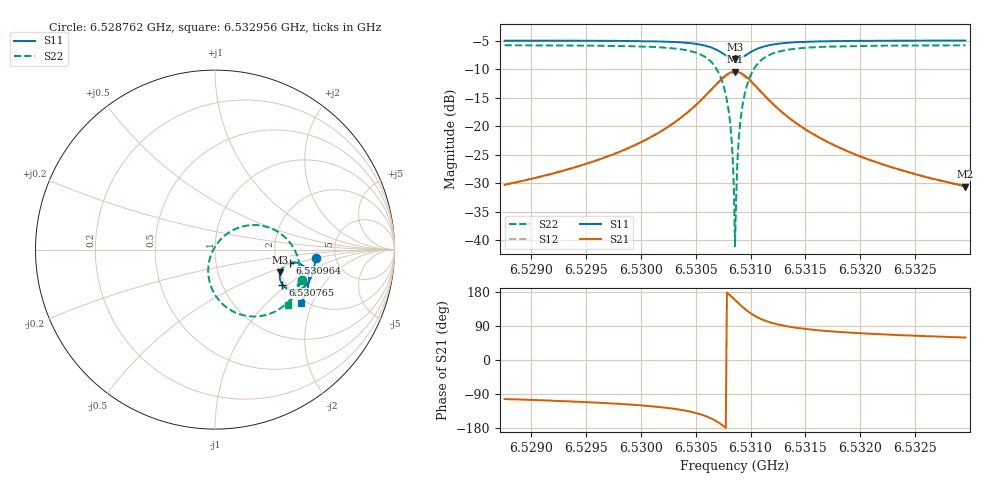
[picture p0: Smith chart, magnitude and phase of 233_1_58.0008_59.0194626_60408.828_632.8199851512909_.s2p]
#  HZ  S  RI  R  50.00
! Rohde & Schwarz Vector Network Analyzer
! Rohde-Schwarz,ZNB20-2Port,1311601062101988,3.16
! Created: UTC 3/21/2024, 1:00:44 AM
! freq[Hz]  re:S11  im:S11  re:S21  im:S21  re:S12  im:S12  re:S22  im:S22
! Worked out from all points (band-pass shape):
!   401 points, 6.528762 GHz to 6.532956 GHz, reference 50 ohm
!   highest |S21| = -10.42 dB at 6.530859 GHz (marker M1); lowest = -30.6 dB at 6.532956 GHz (marker M2)
!   |S21| within 3 dB of the highest: 6.53065 GHz to 6.531069 GHz (419.6 kHz wide, 0.00643 % of centre)
!   lowest |S11| = -8.3 dB at 6.530859 GHz (marker M3), VSWR 2.25, Z = 101 - j30.2 ohm
!   |S11| at or under -10 dB: nowhere
!   |S22| runs from -41.1 to -5.8 dB; largest |S21 - S12| = 0.012
!   S11 on the Smith chart (normalised r, x): 6.528762 GHz: 3.49, -0.49; 6.530765 GHz: 1.92, -0.92; 6.530964 GHz: 2.38, -0.43; 6.532956 GHz: 1.89, -1.66
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6.528762e9  0.5603 -0.0481  -0.00685 -0.0297  -0.00745 -0.0298  0.4829 -0.1696
6.5294645e9  0.5511 -0.1065  -0.016 -0.0425  -0.017 -0.0422  0.4518 -0.2334
6.5301669e9  0.5241 -0.1762  -0.049 -0.0728  -0.0511 -0.0716  0.3713 -0.3227
6.5304081e9  0.4981 -0.2065  -0.088 -0.0921  -0.0907 -0.0892  0.2918 -0.3619
6.5305863e9  0.455 -0.2266  -0.1551 -0.0987  -0.1572 -0.0924  0.168 -0.368
6.5306912e9  0.4108 -0.2221  -0.2234 -0.073  -0.2226 -0.0635  0.0528 -0.3128
6.5307645e9  0.3761 -0.1958  -0.2738 -0.0157  -0.2682 -0.00576  -0.0217 -0.2074
6.5308065e9  0.363 -0.1685  -0.2897 0.0363  -0.281 0.0445  -0.0381 -0.1183
6.5308274e9  0.3606 -0.1525  -0.2901 0.0658  -0.2804 0.0724  -0.0336 -0.0698
6.5308379e9  0.3607 -0.144  -0.2884 0.081  -0.2782 0.0864  -0.0277 -0.0458
6.5308484e9  0.3617 -0.1356  -0.285 0.096  -0.2744 0.1006  -0.0193 -0.022
6.5308589e9  0.3635 -0.1275  -0.2801 0.1105  -0.2694 0.1141  -0.00879 0.000975
6.5308694e9  0.3662 -0.1195  -0.2739 0.1243  -0.2631 0.1271  0.00421 0.0227
6.5308799e9  0.3698 -0.1119  -0.2662 0.1378  -0.2557 0.1395  0.0191 0.0427
6.5308904e9  0.3741 -0.1047  -0.2576 0.15  -0.2471 0.1511  0.0357 0.0613
6.5309113e9  0.3848 -0.0923  -0.2368 0.1714  -0.2274 0.1708  0.073 0.0926
6.5309637e9  0.4171 -0.0737  -0.1778 0.2032  -0.1711 0.2003  0.1762 0.1336
6.5310371e9  0.4593 -0.0736  -0.1039 0.2055  -0.1002 0.2025  0.3002 0.1228
6.531142e9  0.4964 -0.0951  -0.04 0.1753  -0.0383 0.1736  0.4028 0.0564
6.5315613e9  0.5232 -0.1741  0.0151 0.0848  0.0162 0.0844  0.4724 -0.1334
6.5322638e9  0.505 -0.246  0.0173 0.0407  0.018 0.0404  0.4433 -0.2482
6.5329558e9  0.4791 -0.2981  0.015 0.0253  0.0157 0.0253  0.4081 -0.3081
